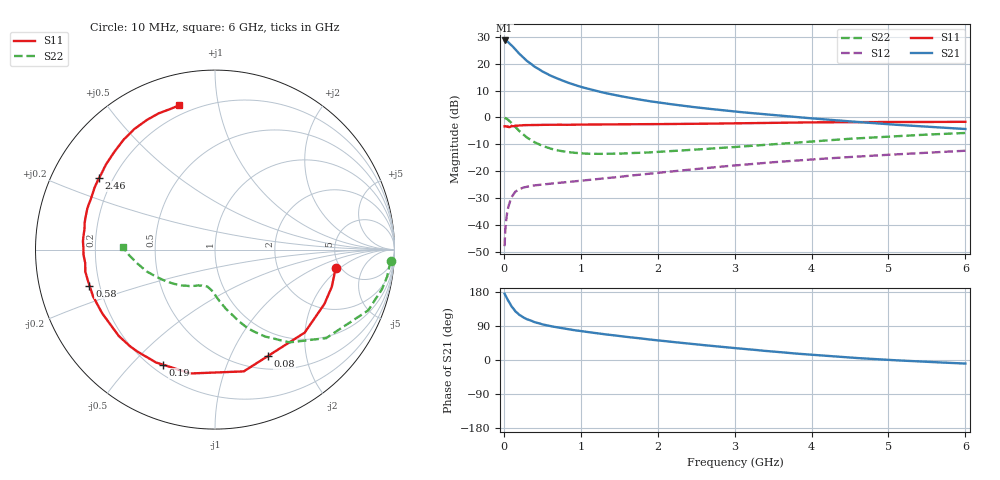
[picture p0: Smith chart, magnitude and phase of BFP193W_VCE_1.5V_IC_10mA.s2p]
! Infineon Technologies  Discrete & RF Semiconductors
! BFP193W
! VCE = 1.5 V,  IC =  10 mA
! Common Emitter S-Parameters:  Jan 2016
# GHz  S  MA  R  50
!  f  S11  S21  S12  S22
! GHz  MAG  ANG  MAG  ANG  MAG  ANG  MAG  ANG
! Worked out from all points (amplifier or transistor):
!   210 points, 10 MHz to 6 GHz, reference 50 ohm
!   highest |S21| = 28.7 dB at 10 MHz (marker M1)
!   |S21| within 3 dB of that: start of sweep to 138.7 MHz
!   unconditionally stable (mu >= 1): 1.239 GHz to 4.434 GHz
!   at 185 MHz: K = 0.22, MSG = 25.6 dB, |S12| = -27.0 dB
!   at 1.52 GHz: K = 1.09, MAG = 13.2 dB, |S12| = -22.1 dB
!   at 6 GHz: K = 0.94, MSG = 4.0 dB, |S12| = -12.4 dB
!   S11 on the Smith chart (normalised r, x): 10 MHz: 4.54, -1.76; 80 MHz: 0.66, -1.40; 190 MHz: 0.24, -0.62; 580 MHz: 0.16, -0.14; 2.46 GHz: 0.15, +0.28; 6 GHz: 0.15, +0.77
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0.01  0.6802 -8.8  27.09 174.8  0.004 87.1  0.9805 -3.7
0.03  0.6806 -26.5  26.74 167.0  0.012 78.8  0.9563 -13.3
0.05  0.6809 -42.8  25.72 158.6  0.0192 71.3  0.9184 -21.6
0.08  0.662 -63.4  23.29 149.0  0.0272 60.6  0.8336 -31.1
0.1  0.6972 -76.7  22.1 141.5  0.0328 56.4  0.7921 -38.5
0.11  0.6883 -81.5  21.29 139.2  0.0344 54.0  0.7636 -40.7
0.15  0.7033 -101.1  18.45 128.4  0.0414 46.5  0.6632 -51.2
0.19  0.7037 -114.3  15.97 121.5  0.045 41.3  0.579 -58.0
0.2  0.7096 -117.6  15.39 119.4  0.046 40.1  0.5595 -60.0
0.24  0.7138 -127.2  13.56 114.2  0.0485 36.8  0.4987 -65.2
0.3  0.7205 -138.1  11.27 107.6  0.0512 33.5  0.4216 -71.5
0.4  0.7218 -150.5  8.809 99.8  0.0542 30.7  0.3442 -78.7
0.58  0.7277 -164.0  6.281 90.6  0.0581 30.1  0.27 -87.4
0.8  0.727 -174.1  4.605 82.3  0.062 32.2  0.2293 -94.3
1.02  0.7338 178.7  3.642 75.9  0.0664 34.5  0.2135 -100.1
1.4  0.7407 168.9  2.686 65.8  0.0755 38.7  0.2105 -107.6
2.02  0.7488 156.0  1.886 51.5  0.0935 43.5  0.2292 -118.2
2.46  0.7594 148.2  1.562 42.1  0.1078 44.9  0.2502 -126.0
3.1  0.7782 137.4  1.247 29.7  0.131 44.9  0.2876 -137.6
4.1  0.809 122.7  0.935 12.4  0.1681 41.7  0.3635 -155.8
5.1  0.8211 111.7  0.729 -0.8  0.2049 36.9  0.4475 -171.3
6  0.8284 104.0  0.608 -9.4  0.2394 32.2  0.513 178.5
